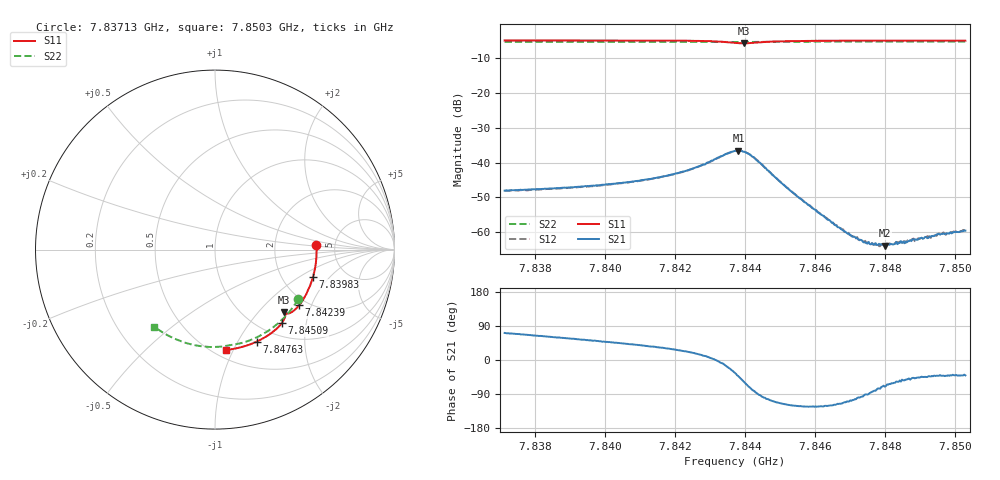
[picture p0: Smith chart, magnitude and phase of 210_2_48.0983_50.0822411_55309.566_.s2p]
#  HZ  S  RI  R  50.00
! Rohde & Schwarz Vector Network Analyzer
! Rohde-Schwarz,ZNB20-2Port,1311601062101988,3.16
! Created: UTC 12/23/2023, 3:55:39 AM
! freq[Hz]  re:S11  im:S11  re:S21  im:S21  re:S12  im:S12  re:S22  im:S22
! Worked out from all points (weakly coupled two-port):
!   401 points, 7.83713 GHz to 7.8503 GHz, reference 50 ohm
!   highest |S21| = -36.63 dB at 7.84381 GHz (marker M1); lowest = -63.9 dB at 7.84799 GHz (marker M2)
!   lowest |S11| = -5.7 dB at 7.84397 GHz (marker M3), VSWR 3.13, Z = 73 - j69.1 ohm
!   |S11| at or under -10 dB: nowhere
!   |S22| runs from -5.4 to -5.3 dB; largest |S21 - S12| = 0.00038
!   S11 on the Smith chart (normalised r, x): 7.83713 GHz: 3.58, +0.29; 7.83983 GHz: 2.97, -1.32; 7.84239 GHz: 1.80, -1.64; 7.84509 GHz: 1.24, -1.46; 7.84763 GHz: 0.80, -1.20; 7.8503 GHz: 0.57, -0.94
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7.837126e9  0.5655 0.0276  0.00126 0.00375  0.0013 0.00369  0.4628 -0.2777
7.839332e9  0.5542 -0.1186  0.00269 0.00365  0.00263 0.00363  0.366 -0.3975
7.839826e9  0.5463 -0.151  0.00306 0.00359  0.00301 0.00354  0.3398 -0.4203
7.841538e9  0.5026 -0.2594  0.00512 0.00334  0.00506 0.00335  0.2391 -0.4855
7.842394e9  0.4684 -0.3108  0.00732 0.0028  0.00725 0.0028  0.1838 -0.5091
7.843217e9  0.4195 -0.3524  0.0117 -0.000576  0.0116 -0.000511  0.1281 -0.525
7.843711e9  0.3851 -0.3537  0.0121 -0.00835  0.0121 -0.00827  0.0951 -0.5305
7.84381e9  0.3818 -0.3506  0.0108 -0.0101  0.0107 -0.0101  0.0887 -0.5314
7.843975e9  0.382 -0.3469  0.00752 -0.0122  0.00746 -0.0121  0.0784 -0.5334
7.844304e9  0.3903 -0.3551  0.000838 -0.011  0.000813 -0.0112  0.0572 -0.5373
7.845094e9  0.3736 -0.4077  -0.00213 -0.00433  -0.00212 -0.0044  0.00182 -0.5428
7.845918e9  0.3327 -0.4504  -0.0012 -0.00187  -0.00123 -0.00188  -0.0561 -0.5407
7.846609e9  0.2939 -0.4789  -0.000573 -0.00111  -0.00057 -0.00111  -0.1044 -0.534
7.847037e9  0.2688 -0.494  -0.000267 -0.000847  -0.000295 -0.000834  -0.1339 -0.5276
7.847334e9  0.2512 -0.5035  -8.93e-05 -0.000762  -9.03e-05 -0.000732  -0.1539 -0.5222
7.84763e9  0.2332 -0.5122  7.45e-05 -0.000695  7.53e-05 -0.000674  -0.1739 -0.5162
7.847893e9  0.217 -0.5193  0.000214 -0.000631  0.000195 -0.000646  -0.1912 -0.5101
7.847992e9  0.2108 -0.5219  0.000215 -0.000602  0.000248 -0.000602  -0.1978 -0.5078
7.848124e9  0.2026 -0.5254  0.000296 -0.000585  0.000302 -0.00062  -0.2064 -0.5044
7.848651e9  0.1693 -0.537  0.00047 -0.000569  0.000479 -0.000597  -0.2402 -0.4895
7.849606e9  0.1075 -0.5524  0.000707 -0.000626  0.000725 -0.000609  -0.2987 -0.4569
7.850297e9  0.0621 -0.559  0.000799 -0.000683  0.000819 -0.000664  -0.3383 -0.429
